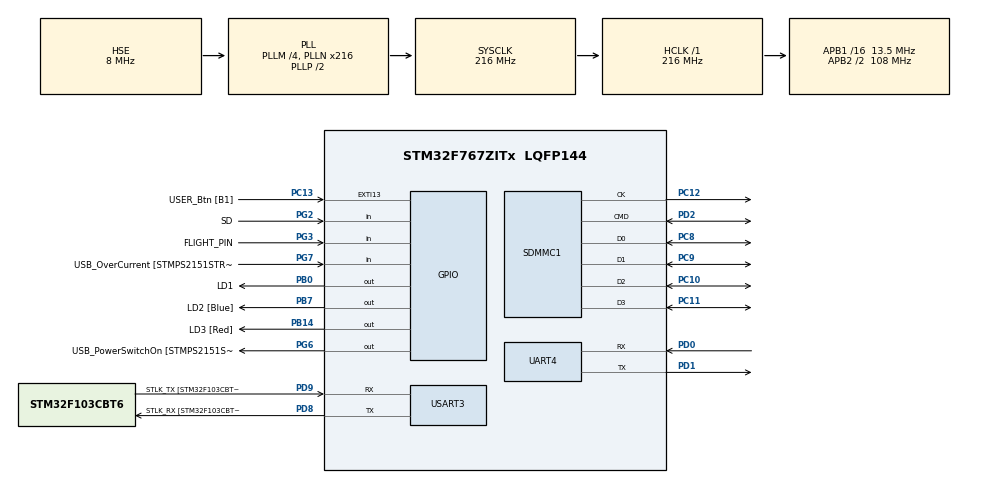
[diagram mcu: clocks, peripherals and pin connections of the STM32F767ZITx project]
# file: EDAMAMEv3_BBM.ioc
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CORTEX_M7.ART_ACCLERATOR_ENABLE=1
CORTEX_M7.CPU_DCache=Enabled
CORTEX_M7.CPU_ICache=Enabled
CORTEX_M7.FlashInterface=AXI_Enabled
CORTEX_M7.MPU_Control=__NULL
CORTEX_M7.PREFETCH_ENABLE=1
FATFS._CODE_PAGE=1
FATFS._FS_LOCK=5
FATFS._MAX_SS=4096
JPEG.JPEG_RGB_FORMAT=JPEG_RGB888
JPEG.USE_JPEG_ENCODER=0
Mcu.Family=STM32F7
Mcu.Name=STM32F767ZITx
Mcu.Package=LQFP144
NVIC.PriorityGroup=NVIC_PRIORITYGROUP_4
PA1.GPIO_Label=RMII_REF_CLK [LAN8742A-CZ-TR_REFCLK0]
PA1.Signal=ETH_REF_CLK
PA10.GPIO_Label=USB_ID
PA10.Signal=USB_OTG_FS_ID
PA11.GPIO_Label=USB_DM
PA11.Signal=USB_OTG_FS_DM
PA12.GPIO_Label=USB_DP
PA12.Signal=USB_OTG_FS_DP
PA13.GPIO_Label=TMS
PA13.Mode=Serial_Wire
PA13.Signal=SYS_JTMS-SWDIO
PA14.GPIO_Label=TCK
PA14.Mode=Serial_Wire
PA14.Signal=SYS_JTCK-SWCLK
PA2.GPIO_Label=RMII_MDIO [LAN8742A-CZ-TR_MDIO]
PA2.Signal=ETH_MDIO
PA7.GPIO_Label=RMII_CRS_DV [LAN8742A-CZ-TR_CRS_DV]
PA7.Signal=ETH_CRS_DV
PA8.GPIO_Label=USB_SOF [TP1]
PA8.Signal=USB_OTG_FS_SOF
PA9.GPIO_Label=USB_VBUS
PA9.Signal=USB_OTG_FS_VBUS
PB0.GPIO_Label=LD1
PB0.Signal=GPIO_Output
PB13.GPIO_Label=RMII_TXD1 [LAN8742A-CZ-TR_TXD1]
PB13.Signal=ETH_TXD1
PB14.GPIO_Label=LD3 [Red]
PB14.Signal=GPIO_Output
PB3.GPIO_Label=SWO
PB3.Signal=SYS_JTDO-SWO
PB7.GPIO_Label=LD2 [Blue]
PB7.Signal=GPIO_Output
PC1.GPIO_Label=RMII_MDC [LAN8742A-CZ-TR_MDC]
PC1.Signal=ETH_MDC
PC10.GPIO_PuPd=GPIO_PULLUP
PC10.Mode=SD_4_bits_Wide_bus
PC10.Signal=SDMMC1_D2
PC11.GPIO_PuPd=GPIO_PULLUP
PC11.Mode=SD_4_bits_Wide_bus
PC11.Signal=SDMMC1_D3
PC12.GPIO_PuPd=GPIO_PULLUP
PC12.Mode=SD_4_bits_Wide_bus
PC12.Signal=SDMMC1_CK
PC13.GPIO_Label=USER_Btn [B1]
PC13.Signal=GPXTI13
PC14/OSC32_IN.Mode=LSE-External-Oscillator
PC14/OSC32_IN.Signal=RCC_OSC32_IN
PC15/OSC32_OUT.Mode=LSE-External-Oscillator
PC15/OSC32_OUT.Signal=RCC_OSC32_OUT
PC4.GPIO_Label=RMII_RXD0 [LAN8742A-CZ-TR_RXD0]
PC4.Signal=ETH_RXD0
PC5.GPIO_Label=RMII_RXD1 [LAN8742A-CZ-TR_RXD1]
PC5.Signal=ETH_RXD1
PC8.GPIO_PuPd=GPIO_PULLUP
PC8.Mode=SD_4_bits_Wide_bus
PC8.Signal=SDMMC1_D0
PC9.GPIO_PuPd=GPIO_PULLUP
PC9.Mode=SD_4_bits_Wide_bus
PC9.Signal=SDMMC1_D1
PD0.Mode=Asynchronous
PD0.Signal=UART4_RX
PD1.Mode=Asynchronous
PD1.Signal=UART4_TX
PD14.Signal=FMC_D0_DA0
PD2.GPIO_PuPd=GPIO_PULLUP
PD2.Mode=SD_4_bits_Wide_bus
PD2.Signal=SDMMC1_CMD
PD5.GPIO_PuPd=GPIO_PULLUP
PD5.Signal=USART2_TX
PD6.GPIO_PuPd=GPIO_PULLUP
PD6.Signal=USART2_RX
PD8.GPIO_Label=STLK_RX [STM32F103CBT6_PA3]
PD8.Mode=Asynchronous
PD8.Signal=USART3_TX
PD9.GPIO_Label=STLK_TX [STM32F103CBT6_PA2]
PD9.Mode=Asynchronous
PD9.Signal=USART3_RX
PG11.GPIO_Label=RMII_TX_EN [LAN8742A-CZ-TR_TXEN]
PG11.Signal=ETH_TX_EN
PG13.GPIO_Label=RMII_TXD0 [LAN8742A-CZ-TR_TXD0]
PG13.Signal=ETH_TXD0
PG2.GPIO_Label=SD
PG2.GPIO_PuPd=GPIO_PULLUP
PG2.Signal=GPIO_Input
PG3.GPIO_Label=FLIGHT_PIN
PG3.GPIO_PuPd=GPIO_PULLUP
PG3.Signal=GPIO_Input
PG6.GPIO_Label=USB_PowerSwitchOn [STMPS2151STR_EN]
PG6.Signal=GPIO_Output
PG7.GPIO_Label=USB_OverCurrent [STMPS2151STR_FAULT]
PG7.Signal=GPIO_Input
PH0/OSC_IN.GPIO_Label=MCO [STM32F103CBT6_PA8]
PH0/OSC_IN.Mode=HSE-External-Clock-Source
PH0/OSC_IN.Signal=RCC_OSC_IN
PH1/OSC_OUT.Mode=HSE-External-Clock-Source
PH1/OSC_OUT.Signal=RCC_OSC_OUT
ProjectManager.HeapSize=0x200
ProjectManager.StackSize=0x400
ProjectManager.TargetToolchain=TrueSTUDIO
RCC.48MHZClocksFreq_Value=24000000
RCC.AHBFreq_Value=216000000
RCC.APB1CLKDivider=RCC_HCLK_DIV16
RCC.APB1Freq_Value=13500000
RCC.APB1TimFreq_Value=27000000
RCC.APB2CLKDivider=RCC_HCLK_DIV2
RCC.APB2Freq_Value=108000000
RCC.APB2TimFreq_Value=216000000
RCC.CortexFreq_Value=216000000
RCC.HCLKFreq_Value=216000000
RCC.HSE_VALUE=8000000
RCC.HSI_VALUE=16000000
RCC.PLL48CLockSelection=RCC_CLK48SOURCE_PLLSAIP
RCC.PLLM=4
RCC.PLLMUL=RCC_PLL_MUL9
RCC.PLLN=216
RCC.PLLQ=6
RCC.PLLSAIN=96
RCC.PLLSAIP=RCC_PLLSAIP_DIV8
RCC.PLLSourceVirtual=RCC_PLLSOURCE_HSE
RCC.PRESCALERUSB=RCC_USBCLKSOURCE_PLL_DIV1_5
RCC.SDMMCClockSelection=RCC_SDMMC1CLKSOURCE_CLK48
RCC.SYSCLKFreq_VALUE=216000000
RCC.SYSCLKSource=RCC_SYSCLKSOURCE_PLLCLK
RCC.SYSCLKSourceVirtual=RCC_SYSCLKSOURCE_PLLCLK
RCC.UART4CLockSelection=RCC_UART4CLKSOURCE_SYSCLK
RCC.USART3CLockSelection=RCC_USART3CLKSOURCE_SYSCLK
RCC.USBFreq_Value=24000000
RCC.VCOOutputFreq_Value=432000000
SDMMC1.ClockBypass=SDMMC_CLOCK_BYPASS_DISABLE
SDMMC1.ClockDiv=60
SDMMC1.ClockEdge=SDMMC_CLOCK_EDGE_RISING
SH.FMC_D0_DA0.0=FMC_DA0
TIM2.Period=0xFFFFFFFF
TIM2.Prescaler=2700
USART3.VirtualMode-Asynchronous=VM_ASYNC
VP_FATFS_VS_SDIO.Mode=SDIO
VP_JPEG_VS_JPEG.Mode=JPEG_Activate
VP_TIM2_VS_ClockSourceINT.Mode=Internal
board=NUCLEO-F767ZI

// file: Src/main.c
/* USER CODE BEGIN Header */
/**
 ******************************************************************************
 * @file           : main.c
 * @brief          : Main program body
 ******************************************************************************
 * This notice applies to any and all portions of this file
 * that are not between comment pairs USER CODE BEGIN and
 * USER CODE END. Other portions of this file, whether
 * inserted by the user or by software development tools
 * are owned by their respective copyright owners.
 *
 * Copyright (c) 2019 STMicroelectronics International N.V.
 * All rights reserved.
 *
 * Redistribution and use in source and binary forms, with or without
 * modification, are permitted, provided that the following conditions are met:
 *
 * 1. Redistribution of source code must retain the above copyright notice,
 *    this list of conditions and the following disclaimer.
 * 2. Redistributions in binary form must reproduce the above copyright notice,
 *    this list of conditions and the following disclaimer in the documentation
 *    and/or other materials provided with the distribution.
 * 3. Neither the name of STMicroelectronics nor the names of other
 *    contributors to this software may be used to endorse or promote products
 *    derived from this software without specific written permission.
 * 4. This software, including modifications and/or derivative works of this
 *    software, must execute solely and exclusively on microcontroller or
 *    microprocessor devices manufactured by or for STMicroelectronics.
 * 5. Redistribution and use of this software other than as permitted under
 *    this license is void and will automatically terminate your rights under
 *    this license.
 *
 * THIS SOFTWARE IS PROVIDED BY STMICROELECTRONICS AND CONTRIBUTORS "AS IS"
 * AND ANY EXPRESS, IMPLIED OR STATUTORY WARRANTIES, INCLUDING, BUT NOT
 * LIMITED TO, THE IMPLIED WARRANTIES OF MERCHANTABILITY, FITNESS FOR A
 * PARTICULAR PURPOSE AND NON-INFRINGEMENT OF THIRD PARTY INTELLECTUAL PROPERTY
 * RIGHTS ARE DISCLAIMED TO THE FULLEST EXTENT PERMITTED BY LAW. IN NO EVENT
 * SHALL STMICROELECTRONICS OR CONTRIBUTORS BE LIABLE FOR ANY DIRECT, INDIRECT,
 * INCIDENTAL, SPECIAL, EXEMPLARY, OR CONSEQUENTIAL DAMAGES (INCLUDING, BUT NOT
 * LIMITED TO, PROCUREMENT OF SUBSTITUTE GOODS OR SERVICES; LOSS OF USE, DATA,
 * OR PROFITS; OR BUSINESS INTERRUPTION) HOWEVER CAUSED AND ON ANY THEORY OF
 * LIABILITY, WHETHER IN CONTRACT, STRICT LIABILITY, OR TORT (INCLUDING
 * NEGLIGENCE OR OTHERWISE) ARISING IN ANY WAY OUT OF THE USE OF THIS SOFTWARE,
 * EVEN IF ADVISED OF THE POSSIBILITY OF SUCH DAMAGE.
 *
 ******************************************************************************
 */
/* USER CODE END Header */

#include "main.h"
#include "fatfs.h"

/* USER CODE BEGIN Includes */
#include "edamame.h"
/* USER CODE END Includes */

JPEG_HandleTypeDef hjpeg;

SD_HandleTypeDef hsd1;

TIM_HandleTypeDef htim2;

UART_HandleTypeDef huart4;
UART_HandleTypeDef huart3;

/* USER CODE BEGIN PV */
// 標準出力をUART1へ
#ifdef __GNUC__
#define PUTCHAR_PROTOTYPE int __io_putchar(int ch)
#else
#define PUTCHAR_PROTOTYPE int fputc(int ch, FILE *f)
#endif /* __GNUC__ */
void __io_putchar(uint8_t ch) {
	HAL_UART_Transmit(&huart3, &ch, 1, 1);
}
/* USER CODE END PV */

void SystemClock_Config(void);
static void MX_GPIO_Init(void);
static void MX_USART3_UART_Init(void);
static void MX_SDMMC1_SD_Init(void);
static void MX_JPEG_Init(void);
static void MX_UART4_Init(void);
static void MX_TIM2_Init(void);

int main(void)
{

  /* Enable I-Cache---------------------------------------------------------*/
  SCB_EnableICache();

  /* Enable D-Cache---------------------------------------------------------*/
  SCB_EnableDCache();

  /* MCU Configuration--------------------------------------------------------*/

  /* Reset of all peripherals, Initializes the Flash interface and the Systick. */
  HAL_Init();

  /* Configure the system clock */
  SystemClock_Config();

  /* Initialize all configured peripherals */
  MX_GPIO_Init();
  MX_USART3_UART_Init();
  MX_SDMMC1_SD_Init();
  MX_FATFS_Init();
  MX_JPEG_Init();
  MX_UART4_Init();
  MX_TIM2_Init();
  /* USER CODE BEGIN 2 */

	HAL_TIM_Base_Start_IT(&htim2);

	//SDカード

	printf("Hello SD test.\n");
	FRESULT res_fs;
	FATFS fs;
	FIL testFile;
	DIR dir;
	char buf[128];
	int ret;
	const int MAX_DIR = 100;
	unsigned int testBytes;

	uint32_t data_size;
	uint8_t path[13] = "test.txt";

	do {
		res_fs = f_mount(&fs, "", 1);
		if (res_fs != FR_OK) {
			printf("f_mount() : error %u\n", res_fs);
		}

		res_fs = f_opendir(&dir, "");
		if (res_fs != FR_OK) {
			printf("f_opendir() : error %u\n", res_fs);
		}
		HAL_Delay(800);
	} while (res_fs != FR_OK);

	res_fs = f_open(&testFile, (char*)path, FA_WRITE | FA_CREATE_ALWAYS);
	printf("f_open:%d \r\n",res_fs);

	uint8_t testBuffer[16] = "SD write success";
	res_fs = f_write(&testFile, testBuffer, 16, &testBytes);
	printf("f_write:%d \r\n",res_fs);

	res_fs = f_close(&testFile);
	printf("f_close:%d \r\n",res_fs);

	myCansat cansat;
	//カメラ初期化
	printf("Hello C1098 test.\n");

	CAMERARESULT camrea_res;
	JDEC jdec;
	JRESULT jpeg_res;
	cansat.camera.uart_port = &huart4;
	cansat.camera.packet_size = 256;
	cansat.camera.baudrate = 460800;
	cansat.camera.resolution = QVGA;

	camrea_res = camera_init(&cansat.camera);

	printf("camera_Init %d\n", camrea_res);

	uint32_t time,loop_t;
  /* USER CODE END 2 */

  /* Infinite loop */
	while (1)
	{

    /* USER CODE BEGIN 3 */

		HAL_GPIO_WritePin(LD1_GPIO_Port,LD1_Pin,GPIO_PIN_SET);
		HAL_GPIO_WritePin(LD2_GPIO_Port,LD2_Pin,GPIO_PIN_SET);
		HAL_GPIO_WritePin(LD3_GPIO_Port,LD3_Pin,GPIO_PIN_SET);
		loop_t = 0;
		//撮影
		TIM2->CNT = 0;
		while(snap_shot(&cansat.camera) != CAMERA_OK);
		time = TIM2->CNT;
		loop_t += time;
		printf("\n[%6.1fms] snap_shot\n", 0.1*time);

		//写真を転送
		TIM2->CNT = 0;
		camrea_res = get_picture(&cansat.camera, &cansat.jpeg.io.jpeg_data, MAX_SIZE, &cansat.jpeg.data_size);
		time = TIM2->CNT;
		loop_t += time;
		printf("[%6.1fms] get_picture   : %d %5.3fkB \n", 0.1*time,camrea_res,0.001*cansat.jpeg.data_size);

		//JPEGデコード
		TIM2->CNT = 0;
		uint8_t work[3100];
		cansat.jpeg.io.jpeg_data_seek = 0;
		jpeg_res = jd_prepare(&jdec, in_func, work, 3100, &cansat.jpeg.io);
		memset(&cansat.jpeg.io.RED_bool, 0, sizeof(&cansat.jpeg.io.RED_bool));
		time = TIM2->CNT;
		loop_t += time;
		printf("[%6.1fms] jd_prepare    : %d\n", 0.1*time,jpeg_res);

		if (jpeg_res == JDR_OK) {
			//デコード開始
			TIM2->CNT = 0;
			jpeg_res = jd_decomp(&jdec, out_func, 0);
			time = TIM2->CNT;
			loop_t += time;
			printf("[%6.1fms] jd_decomp     : %d\n", 0.1*time,jpeg_res);
			if (jpeg_res == JDR_OK) {

				//重心計算
				TIM2->CNT = 0;
				uint16_t xc = 0, yc = 0, s = 0;
				for (UINT h = 0; h < jdec.height; h++) {
					for (UINT w = 0; w < jdec.width; w++) {
						if ((cansat.jpeg.io.RED_bool[h][w / 8] & (0b10000000 >> (w % 8))) != 0) {
							xc += w;
							yc += h;
							s++;
						}
					}
				}
				time = TIM2->CNT;
				loop_t += time;
				printf("[%6.1fms] centroid calc : %d x=%3d y=%3d s=%4d\n", 0.1*time,jpeg_res,xc/s,yc/s,s);
			}
		}
		printf("--------------------------\n");
		printf("[%6.1fms] Total\n", 0.1*loop_t);
		HAL_GPIO_WritePin(LD1_GPIO_Port,LD1_Pin,GPIO_PIN_RESET);
		HAL_GPIO_WritePin(LD2_GPIO_Port,LD2_Pin,GPIO_PIN_RESET);
		HAL_GPIO_WritePin(LD3_GPIO_Port,LD3_Pin,GPIO_PIN_RESET);

		while(TIM2->CNT + loop_t <20000);
	}
  /* USER CODE END 3 */
}

void SystemClock_Config(void)
{
  RCC_OscInitTypeDef RCC_OscInitStruct = {0};
  RCC_ClkInitTypeDef RCC_ClkInitStruct = {0};
  RCC_PeriphCLKInitTypeDef PeriphClkInitStruct = {0};

  /** Configure LSE Drive Capability
  */
  HAL_PWR_EnableBkUpAccess();
  /** Configure the main internal regulator output voltage
  */
  __HAL_RCC_PWR_CLK_ENABLE();
  __HAL_PWR_VOLTAGESCALING_CONFIG(PWR_REGULATOR_VOLTAGE_SCALE1);
  /** Initializes the CPU, AHB and APB busses clocks
  */
  RCC_OscInitStruct.OscillatorType = RCC_OSCILLATORTYPE_HSE;
  RCC_OscInitStruct.HSEState = RCC_HSE_BYPASS;
  RCC_OscInitStruct.PLL.PLLState = RCC_PLL_ON;
  RCC_OscInitStruct.PLL.PLLSource = RCC_PLLSOURCE_HSE;
  RCC_OscInitStruct.PLL.PLLM = 4;
  RCC_OscInitStruct.PLL.PLLN = 216;
  RCC_OscInitStruct.PLL.PLLP = RCC_PLLP_DIV2;
  RCC_OscInitStruct.PLL.PLLQ = 6;
  if (HAL_RCC_OscConfig(&RCC_OscInitStruct) != HAL_OK)
  {
    Error_Handler();
  }
  /** Activate the Over-Drive mode
  */
  if (HAL_PWREx_EnableOverDrive() != HAL_OK)
  {
    Error_Handler();
  }
  /** Initializes the CPU, AHB and APB busses clocks
  */
  RCC_ClkInitStruct.ClockType = RCC_CLOCKTYPE_HCLK|RCC_CLOCKTYPE_SYSCLK
                              |RCC_CLOCKTYPE_PCLK1|RCC_CLOCKTYPE_PCLK2;
  RCC_ClkInitStruct.SYSCLKSource = RCC_SYSCLKSOURCE_PLLCLK;
  RCC_ClkInitStruct.AHBCLKDivider = RCC_SYSCLK_DIV1;
  RCC_ClkInitStruct.APB1CLKDivider = RCC_HCLK_DIV16;
  RCC_ClkInitStruct.APB2CLKDivider = RCC_HCLK_DIV2;

  if (HAL_RCC_ClockConfig(&RCC_ClkInitStruct, FLASH_LATENCY_7) != HAL_OK)
  {
    Error_Handler();
  }
  PeriphClkInitStruct.PeriphClockSelection = RCC_PERIPHCLK_USART3|RCC_PERIPHCLK_UART4
                              |RCC_PERIPHCLK_SDMMC1|RCC_PERIPHCLK_CLK48;
  PeriphClkInitStruct.PLLSAI.PLLSAIN = 96;
  PeriphClkInitStruct.PLLSAI.PLLSAIR = 2;
  PeriphClkInitStruct.PLLSAI.PLLSAIQ = 2;
  PeriphClkInitStruct.PLLSAI.PLLSAIP = RCC_PLLSAIP_DIV8;
  PeriphClkInitStruct.PLLSAIDivQ = 1;
  PeriphClkInitStruct.PLLSAIDivR = RCC_PLLSAIDIVR_2;
  PeriphClkInitStruct.Usart3ClockSelection = RCC_USART3CLKSOURCE_SYSCLK;
  PeriphClkInitStruct.Uart4ClockSelection = RCC_UART4CLKSOURCE_SYSCLK;
  PeriphClkInitStruct.Clk48ClockSelection = RCC_CLK48SOURCE_PLLSAIP;
  PeriphClkInitStruct.Sdmmc1ClockSelection = RCC_SDMMC1CLKSOURCE_CLK48;
  if (HAL_RCCEx_PeriphCLKConfig(&PeriphClkInitStruct) != HAL_OK)
  {
    Error_Handler();
  }
}

static void MX_JPEG_Init(void)
{

  hjpeg.Instance = JPEG;
  if (HAL_JPEG_Init(&hjpeg) != HAL_OK)
  {
    Error_Handler();
  }

}

static void MX_SDMMC1_SD_Init(void)
{

  hsd1.Instance = SDMMC1;
  hsd1.Init.ClockEdge = SDMMC_CLOCK_EDGE_RISING;
  hsd1.Init.ClockBypass = SDMMC_CLOCK_BYPASS_DISABLE;
  hsd1.Init.ClockPowerSave = SDMMC_CLOCK_POWER_SAVE_DISABLE;
  hsd1.Init.BusWide = SDMMC_BUS_WIDE_1B;
  hsd1.Init.HardwareFlowControl = SDMMC_HARDWARE_FLOW_CONTROL_DISABLE;
  hsd1.Init.ClockDiv = 60;

}

static void MX_TIM2_Init(void)
{

  TIM_ClockConfigTypeDef sClockSourceConfig = {0};
  TIM_MasterConfigTypeDef sMasterConfig = {0};

  htim2.Instance = TIM2;
  htim2.Init.Prescaler = 2700;
  htim2.Init.CounterMode = TIM_COUNTERMODE_UP;
  htim2.Init.Period = 0xFFFFFFFF;
  htim2.Init.ClockDivision = TIM_CLOCKDIVISION_DIV1;
  htim2.Init.AutoReloadPreload = TIM_AUTORELOAD_PRELOAD_DISABLE;
  if (HAL_TIM_Base_Init(&htim2) != HAL_OK)
  {
    Error_Handler();
  }
  sClockSourceConfig.ClockSource = TIM_CLOCKSOURCE_INTERNAL;
  if (HAL_TIM_ConfigClockSource(&htim2, &sClockSourceConfig) != HAL_OK)
  {
    Error_Handler();
  }
  sMasterConfig.MasterOutputTrigger = TIM_TRGO_RESET;
  sMasterConfig.MasterSlaveMode = TIM_MASTERSLAVEMODE_DISABLE;
  if (HAL_TIMEx_MasterConfigSynchronization(&htim2, &sMasterConfig) != HAL_OK)
  {
    Error_Handler();
  }

}

static void MX_UART4_Init(void)
{

  huart4.Instance = UART4;
  huart4.Init.BaudRate = 115200;
  huart4.Init.WordLength = UART_WORDLENGTH_8B;
  huart4.Init.StopBits = UART_STOPBITS_1;
  huart4.Init.Parity = UART_PARITY_NONE;
  huart4.Init.Mode = UART_MODE_TX_RX;
  huart4.Init.HwFlowCtl = UART_HWCONTROL_NONE;
  huart4.Init.OverSampling = UART_OVERSAMPLING_16;
  huart4.Init.OneBitSampling = UART_ONE_BIT_SAMPLE_DISABLE;
  huart4.AdvancedInit.AdvFeatureInit = UART_ADVFEATURE_NO_INIT;
  if (HAL_UART_Init(&huart4) != HAL_OK)
  {
    Error_Handler();
  }

}

static void MX_USART3_UART_Init(void)
{

  huart3.Instance = USART3;
  huart3.Init.BaudRate = 115200;
  huart3.Init.WordLength = UART_WORDLENGTH_8B;
  huart3.Init.StopBits = UART_STOPBITS_1;
  huart3.Init.Parity = UART_PARITY_NONE;
  huart3.Init.Mode = UART_MODE_TX_RX;
  huart3.Init.HwFlowCtl = UART_HWCONTROL_NONE;
  huart3.Init.OverSampling = UART_OVERSAMPLING_16;
  huart3.Init.OneBitSampling = UART_ONE_BIT_SAMPLE_DISABLE;
  huart3.AdvancedInit.AdvFeatureInit = UART_ADVFEATURE_NO_INIT;
  if (HAL_UART_Init(&huart3) != HAL_OK)
  {
    Error_Handler();
  }

}

static void MX_GPIO_Init(void)
{
  GPIO_InitTypeDef GPIO_InitStruct = {0};

  /* GPIO Ports Clock Enable */
  __HAL_RCC_GPIOC_CLK_ENABLE();
  __HAL_RCC_GPIOH_CLK_ENABLE();
  __HAL_RCC_GPIOA_CLK_ENABLE();
  __HAL_RCC_GPIOB_CLK_ENABLE();
  __HAL_RCC_GPIOD_CLK_ENABLE();
  __HAL_RCC_GPIOG_CLK_ENABLE();

  /*Configure GPIO pin Output Level */
  HAL_GPIO_WritePin(GPIOB, LD1_Pin|LD3_Pin|LD2_Pin, GPIO_PIN_RESET);

  /*Configure GPIO pin Output Level */
  HAL_GPIO_WritePin(USB_PowerSwitchOn_GPIO_Port, USB_PowerSwitchOn_Pin, GPIO_PIN_RESET);

  /*Configure GPIO pin : USER_Btn_Pin */
  GPIO_InitStruct.Pin = USER_Btn_Pin;
  GPIO_InitStruct.Mode = GPIO_MODE_IT_RISING;
  GPIO_InitStruct.Pull = GPIO_NOPULL;
  HAL_GPIO_Init(USER_Btn_GPIO_Port, &GPIO_InitStruct);

  /*Configure GPIO pins : RMII_MDC_Pin RMII_RXD0_Pin RMII_RXD1_Pin */
  GPIO_InitStruct.Pin = RMII_MDC_Pin|RMII_RXD0_Pin|RMII_RXD1_Pin;
  GPIO_InitStruct.Mode = GPIO_MODE_AF_PP;
  GPIO_InitStruct.Pull = GPIO_NOPULL;
  GPIO_InitStruct.Speed = GPIO_SPEED_FREQ_VERY_HIGH;
  GPIO_InitStruct.Alternate = GPIO_AF11_ETH;
  HAL_GPIO_Init(GPIOC, &GPIO_InitStruct);

  /*Configure GPIO pins : RMII_REF_CLK_Pin RMII_MDIO_Pin RMII_CRS_DV_Pin */
  GPIO_InitStruct.Pin = RMII_REF_CLK_Pin|RMII_MDIO_Pin|RMII_CRS_DV_Pin;
  GPIO_InitStruct.Mode = GPIO_MODE_AF_PP;
  GPIO_InitStruct.Pull = GPIO_NOPULL;
  GPIO_InitStruct.Speed = GPIO_SPEED_FREQ_VERY_HIGH;
  GPIO_InitStruct.Alternate = GPIO_AF11_ETH;
  HAL_GPIO_Init(GPIOA, &GPIO_InitStruct);

  /*Configure GPIO pins : LD1_Pin LD3_Pin LD2_Pin */
  GPIO_InitStruct.Pin = LD1_Pin|LD3_Pin|LD2_Pin;
  GPIO_InitStruct.Mode = GPIO_MODE_OUTPUT_PP;
  GPIO_InitStruct.Pull = GPIO_NOPULL;
  GPIO_InitStruct.Speed = GPIO_SPEED_FREQ_LOW;
  HAL_GPIO_Init(GPIOB, &GPIO_InitStruct);

  /*Configure GPIO pin : RMII_TXD1_Pin */
  GPIO_InitStruct.Pin = RMII_TXD1_Pin;
  GPIO_InitStruct.Mode = GPIO_MODE_AF_PP;
  GPIO_InitStruct.Pull = GPIO_NOPULL;
  GPIO_InitStruct.Speed = GPIO_SPEED_FREQ_VERY_HIGH;
  GPIO_InitStruct.Alternate = GPIO_AF11_ETH;
  HAL_GPIO_Init(RMII_TXD1_GPIO_Port, &GPIO_InitStruct);

  /*Configure GPIO pin : PD14 */
  GPIO_InitStruct.Pin = GPIO_PIN_14;
  GPIO_InitStruct.Mode = GPIO_MODE_AF_PP;
  GPIO_InitStruct.Pull = GPIO_NOPULL;
  GPIO_InitStruct.Speed = GPIO_SPEED_FREQ_VERY_HIGH;
  GPIO_InitStruct.Alternate = GPIO_AF12_FMC;
  HAL_GPIO_Init(GPIOD, &GPIO_InitStruct);

  /*Configure GPIO pins : SD_Pin FLIGHT_PIN_Pin */
  GPIO_InitStruct.Pin = SD_Pin|FLIGHT_PIN_Pin;
  GPIO_InitStruct.Mode = GPIO_MODE_INPUT;
  GPIO_InitStruct.Pull = GPIO_PULLUP;
  HAL_GPIO_Init(GPIOG, &GPIO_InitStruct);

  /*Configure GPIO pin : USB_PowerSwitchOn_Pin */
  GPIO_InitStruct.Pin = USB_PowerSwitchOn_Pin;
  GPIO_InitStruct.Mode = GPIO_MODE_OUTPUT_PP;
  GPIO_InitStruct.Pull = GPIO_NOPULL;
  GPIO_InitStruct.Speed = GPIO_SPEED_FREQ_LOW;
  HAL_GPIO_Init(USB_PowerSwitchOn_GPIO_Port, &GPIO_InitStruct);

  /*Configure GPIO pin : USB_OverCurrent_Pin */
  GPIO_InitStruct.Pin = USB_OverCurrent_Pin;
  GPIO_InitStruct.Mode = GPIO_MODE_INPUT;
  GPIO_InitStruct.Pull = GPIO_NOPULL;
  HAL_GPIO_Init(USB_OverCurrent_GPIO_Port, &GPIO_InitStruct);

  /*Configure GPIO pins : USB_SOF_Pin USB_ID_Pin USB_DM_Pin USB_DP_Pin */
  GPIO_InitStruct.Pin = USB_SOF_Pin|USB_ID_Pin|USB_DM_Pin|USB_DP_Pin;
  GPIO_InitStruct.Mode = GPIO_MODE_AF_PP;
  GPIO_InitStruct.Pull = GPIO_NOPULL;
  GPIO_InitStruct.Speed = GPIO_SPEED_FREQ_VERY_HIGH;
  GPIO_InitStruct.Alternate = GPIO_AF10_OTG_FS;
  HAL_GPIO_Init(GPIOA, &GPIO_InitStruct);

  /*Configure GPIO pin : USB_VBUS_Pin */
  GPIO_InitStruct.Pin = USB_VBUS_Pin;
  GPIO_InitStruct.Mode = GPIO_MODE_INPUT;
  GPIO_InitStruct.Pull = GPIO_NOPULL;
  HAL_GPIO_Init(USB_VBUS_GPIO_Port, &GPIO_InitStruct);

  /*Configure GPIO pins : PD5 PD6 */
  GPIO_InitStruct.Pin = GPIO_PIN_5|GPIO_PIN_6;
  GPIO_InitStruct.Mode = GPIO_MODE_AF_PP;
  GPIO_InitStruct.Pull = GPIO_PULLUP;
  GPIO_InitStruct.Speed = GPIO_SPEED_FREQ_VERY_HIGH;
  GPIO_InitStruct.Alternate = GPIO_AF7_USART2;
  HAL_GPIO_Init(GPIOD, &GPIO_InitStruct);

  /*Configure GPIO pins : RMII_TX_EN_Pin RMII_TXD0_Pin */
  GPIO_InitStruct.Pin = RMII_TX_EN_Pin|RMII_TXD0_Pin;
  GPIO_InitStruct.Mode = GPIO_MODE_AF_PP;
  GPIO_InitStruct.Pull = GPIO_NOPULL;
  GPIO_InitStruct.Speed = GPIO_SPEED_FREQ_VERY_HIGH;
  GPIO_InitStruct.Alternate = GPIO_AF11_ETH;
  HAL_GPIO_Init(GPIOG, &GPIO_InitStruct);

}

void Error_Handler(void)
{
}

/************************ (C) COPYRIGHT STMicroelectronics *****END OF FILE****/
